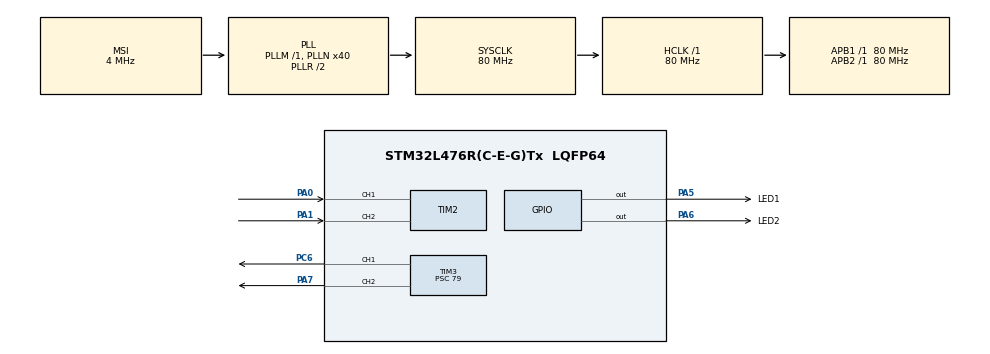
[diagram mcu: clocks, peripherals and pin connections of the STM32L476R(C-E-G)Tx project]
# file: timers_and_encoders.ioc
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Mcu.Family=STM32L4
Mcu.Name=STM32L476R(C-E-G)Tx
Mcu.Package=LQFP64
NVIC.PriorityGroup=NVIC_PRIORITYGROUP_4
NVIC.TIM6_DAC_IRQn=true\:10\:0\:true\:false\:true\:true\:true\:true
NVIC.TIM7_IRQn=true\:11\:0\:true\:false\:true\:true\:true\:true
PA0.Signal=S_TIM2_CH1
PA1.Signal=S_TIM2_CH2
PA13\ (JTMS-SWDIO).Mode=Serial_Wire
PA13\ (JTMS-SWDIO).Signal=SYS_JTMS-SWDIO
PA14\ (JTCK-SWCLK).Mode=Serial_Wire
PA14\ (JTCK-SWCLK).Signal=SYS_JTCK-SWCLK
PA5.GPIO_Label=LED1
PA5.Signal=GPIO_Output
PA6.GPIO_Label=LED2
PA6.Signal=GPIO_Output
PA7.Signal=S_TIM3_CH2
PC6.Signal=S_TIM3_CH1
ProjectManager.HeapSize=0x200
ProjectManager.StackSize=0x400
ProjectManager.TargetToolchain=STM32CubeIDE
RCC.AHBFreq_Value=80000000
RCC.APB1Freq_Value=80000000
RCC.APB1TimFreq_Value=80000000
RCC.APB2Freq_Value=80000000
RCC.APB2TimFreq_Value=80000000
RCC.CortexFreq_Value=80000000
RCC.HCLKFreq_Value=80000000
RCC.HSE_VALUE=8000000
RCC.HSI_VALUE=16000000
RCC.LSE_VALUE=32768
RCC.MSI_VALUE=4000000
RCC.PLLN=40
RCC.SYSCLKFreq_VALUE=80000000
RCC.SYSCLKSource=RCC_SYSCLKSOURCE_PLLCLK
RCC.VCOOutputFreq_Value=160000000
SH.S_TIM2_CH1.0=TIM2_CH1,Encoder_Interface
SH.S_TIM2_CH2.0=TIM2_CH2,Encoder_Interface
SH.S_TIM3_CH1.0=TIM3_CH1,PWM Generation1 CH1
SH.S_TIM3_CH2.0=TIM3_CH2,PWM Generation2 CH2
TIM3.Channel-PWM\ Generation1\ CH1=TIM_CHANNEL_1
TIM3.Channel-PWM\ Generation2\ CH2=TIM_CHANNEL_2
TIM3.OCPolarity_1=TIM_OCPOLARITY_LOW
TIM3.OCPolarity_2=TIM_OCPOLARITY_LOW
TIM3.Period=9999
TIM3.Prescaler=79
TIM6.Period=19999
TIM6.Prescaler=7999
TIM7.Period=499
TIM7.Prescaler=7999
VP_TIM3_VS_ClockSourceINT.Mode=Internal
VP_TIM6_VS_ClockSourceINT.Mode=Enable_Timer
VP_TIM7_VS_ClockSourceINT.Mode=Enable_Timer
board=custom

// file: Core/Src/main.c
/* USER CODE BEGIN Header */
/**
  ******************************************************************************
  * @file           : main.c
  * @brief          : Main program body
  ******************************************************************************
  * @attention
  *
  * Copyright (c) 2023 STMicroelectronics.
  * All rights reserved.
  *
  * This software is licensed under terms that can be found in the LICENSE file
  * in the root directory of this software component.
  * If no LICENSE file comes with this software, it is provided AS-IS.
  *
  ******************************************************************************
  */
/* USER CODE END Header */
#include "main.h"

/* USER CODE BEGIN Includes */
#include "stdio.h"
#include "math.h"

/* USER CODE END Includes */

TIM_HandleTypeDef htim2;
TIM_HandleTypeDef htim3;
TIM_HandleTypeDef htim6;
TIM_HandleTypeDef htim7;

void SystemClock_Config(void);
static void MX_GPIO_Init(void);
static void MX_TIM6_Init(void);
static void MX_TIM7_Init(void);
static void MX_TIM3_Init(void);
static void MX_TIM2_Init(void);

/* USER CODE BEGIN 0 */

volatile int16_t enc_val = 0;

//	Interrupt from basic timer (timer 6 and 7)
void HAL_TIM_PeriodElapsedCallback(TIM_HandleTypeDef *htim){

	// timer 6 is set up to change LED level once per 2s.
	if(htim==&htim6){
		HAL_GPIO_TogglePin(LED1_GPIO_Port, LED1_Pin);
	}
	//	timer 7 is set up to change LED level once per 50ms.
	else if (htim==&htim7){
		HAL_GPIO_TogglePin(LED2_GPIO_Port, LED2_Pin);
	}
}

//	Function which calculates pwm levels for color red and blue in RGB LED
float calc_pwm(float value){
	const float k = 0.13;
	const float x0 = 70.0;
	return 10000.0 / (1.0 + exp(-k * (value - x0)));
}

/* USER CODE END 0 */

int main(void)
{

  /* MCU Configuration--------------------------------------------------------*/

  /* Reset of all peripherals, Initializes the Flash interface and the Systick. */
  HAL_Init();

  /* Configure the system clock */
  SystemClock_Config();

  /* Initialize all configured peripherals */
  MX_GPIO_Init();
  MX_TIM6_Init();
  MX_TIM7_Init();
  MX_TIM3_Init();
  MX_TIM2_Init();

  /* Infinite loop */
  /* USER CODE BEGIN WHILE */

  //	SETTING UP TIMERS (ACTIVATING THEM)
  HAL_TIM_Base_Start_IT(&htim6);
  HAL_TIM_Base_Start_IT(&htim7);
  HAL_TIM_Base_Start(&htim3);

  //	SETTING UP ENCODER
  HAL_TIM_Encoder_Start(&htim2, TIM_CHANNEL_ALL);

  //	Activating PWM channels for timer 3
  HAL_TIM_PWM_Start(&htim3, TIM_CHANNEL_1);
  HAL_TIM_PWM_Start(&htim3, TIM_CHANNEL_2);

  float counter = 0.0;

  while (1)
  {
	  //	Getting new value from encoder to change frequency of sinus
	  enc_val = __HAL_TIM_GET_COUNTER(&htim2);

	  //	Creating sinus wave which changes pwm level
	  float r = 50 * (1.0f + sin((float)enc_val*(counter / 100.0f)));
	  float b = 50 * (1.0f + sin((float)enc_val*(2.0f * counter / 100.0f)));

	  //	Changing PWM level in timer
	  __HAL_TIM_SET_COMPARE(&htim3, TIM_CHANNEL_1, calc_pwm(r));
	  __HAL_TIM_SET_COMPARE(&htim3, TIM_CHANNEL_2, calc_pwm(b));

	  HAL_Delay(10);
	  counter++;
    /* USER CODE END WHILE */

  }
}

void SystemClock_Config(void)
{
  RCC_OscInitTypeDef RCC_OscInitStruct = {0};
  RCC_ClkInitTypeDef RCC_ClkInitStruct = {0};

  /** Configure the main internal regulator output voltage
  */
  if (HAL_PWREx_ControlVoltageScaling(PWR_REGULATOR_VOLTAGE_SCALE1) != HAL_OK)
  {
    Error_Handler();
  }

  /** Initializes the RCC Oscillators according to the specified parameters
  * in the RCC_OscInitTypeDef structure.
  */
  RCC_OscInitStruct.OscillatorType = RCC_OSCILLATORTYPE_MSI;
  RCC_OscInitStruct.MSIState = RCC_MSI_ON;
  RCC_OscInitStruct.MSICalibrationValue = 0;
  RCC_OscInitStruct.MSIClockRange = RCC_MSIRANGE_6;
  RCC_OscInitStruct.PLL.PLLState = RCC_PLL_ON;
  RCC_OscInitStruct.PLL.PLLSource = RCC_PLLSOURCE_MSI;
  RCC_OscInitStruct.PLL.PLLM = 1;
  RCC_OscInitStruct.PLL.PLLN = 40;
  RCC_OscInitStruct.PLL.PLLP = RCC_PLLP_DIV7;
  RCC_OscInitStruct.PLL.PLLQ = RCC_PLLQ_DIV2;
  RCC_OscInitStruct.PLL.PLLR = RCC_PLLR_DIV2;
  if (HAL_RCC_OscConfig(&RCC_OscInitStruct) != HAL_OK)
  {
    Error_Handler();
  }

  /** Initializes the CPU, AHB and APB buses clocks
  */
  RCC_ClkInitStruct.ClockType = RCC_CLOCKTYPE_HCLK|RCC_CLOCKTYPE_SYSCLK
                              |RCC_CLOCKTYPE_PCLK1|RCC_CLOCKTYPE_PCLK2;
  RCC_ClkInitStruct.SYSCLKSource = RCC_SYSCLKSOURCE_PLLCLK;
  RCC_ClkInitStruct.AHBCLKDivider = RCC_SYSCLK_DIV1;
  RCC_ClkInitStruct.APB1CLKDivider = RCC_HCLK_DIV1;
  RCC_ClkInitStruct.APB2CLKDivider = RCC_HCLK_DIV1;

  if (HAL_RCC_ClockConfig(&RCC_ClkInitStruct, FLASH_LATENCY_4) != HAL_OK)
  {
    Error_Handler();
  }
}

static void MX_TIM2_Init(void)
{

  TIM_Encoder_InitTypeDef sConfig = {0};
  TIM_MasterConfigTypeDef sMasterConfig = {0};

  htim2.Instance = TIM2;
  htim2.Init.Prescaler = 0;
  htim2.Init.CounterMode = TIM_COUNTERMODE_UP;
  htim2.Init.Period = 4294967295;
  htim2.Init.ClockDivision = TIM_CLOCKDIVISION_DIV1;
  htim2.Init.AutoReloadPreload = TIM_AUTORELOAD_PRELOAD_DISABLE;
  sConfig.EncoderMode = TIM_ENCODERMODE_TI1;
  sConfig.IC1Polarity = TIM_ICPOLARITY_RISING;
  sConfig.IC1Selection = TIM_ICSELECTION_DIRECTTI;
  sConfig.IC1Prescaler = TIM_ICPSC_DIV1;
  sConfig.IC1Filter = 0;
  sConfig.IC2Polarity = TIM_ICPOLARITY_RISING;
  sConfig.IC2Selection = TIM_ICSELECTION_DIRECTTI;
  sConfig.IC2Prescaler = TIM_ICPSC_DIV1;
  sConfig.IC2Filter = 0;
  if (HAL_TIM_Encoder_Init(&htim2, &sConfig) != HAL_OK)
  {
    Error_Handler();
  }
  sMasterConfig.MasterOutputTrigger = TIM_TRGO_RESET;
  sMasterConfig.MasterSlaveMode = TIM_MASTERSLAVEMODE_DISABLE;
  if (HAL_TIMEx_MasterConfigSynchronization(&htim2, &sMasterConfig) != HAL_OK)
  {
    Error_Handler();
  }

}

static void MX_TIM3_Init(void)
{

  TIM_ClockConfigTypeDef sClockSourceConfig = {0};
  TIM_MasterConfigTypeDef sMasterConfig = {0};
  TIM_OC_InitTypeDef sConfigOC = {0};

  htim3.Instance = TIM3;
  htim3.Init.Prescaler = 79;
  htim3.Init.CounterMode = TIM_COUNTERMODE_UP;
  htim3.Init.Period = 9999;
  htim3.Init.ClockDivision = TIM_CLOCKDIVISION_DIV1;
  htim3.Init.AutoReloadPreload = TIM_AUTORELOAD_PRELOAD_DISABLE;
  if (HAL_TIM_Base_Init(&htim3) != HAL_OK)
  {
    Error_Handler();
  }
  sClockSourceConfig.ClockSource = TIM_CLOCKSOURCE_INTERNAL;
  if (HAL_TIM_ConfigClockSource(&htim3, &sClockSourceConfig) != HAL_OK)
  {
    Error_Handler();
  }
  if (HAL_TIM_PWM_Init(&htim3) != HAL_OK)
  {
    Error_Handler();
  }
  sMasterConfig.MasterOutputTrigger = TIM_TRGO_RESET;
  sMasterConfig.MasterSlaveMode = TIM_MASTERSLAVEMODE_DISABLE;
  if (HAL_TIMEx_MasterConfigSynchronization(&htim3, &sMasterConfig) != HAL_OK)
  {
    Error_Handler();
  }
  sConfigOC.OCMode = TIM_OCMODE_PWM1;
  sConfigOC.Pulse = 0;
  sConfigOC.OCPolarity = TIM_OCPOLARITY_LOW;
  sConfigOC.OCFastMode = TIM_OCFAST_DISABLE;
  if (HAL_TIM_PWM_ConfigChannel(&htim3, &sConfigOC, TIM_CHANNEL_1) != HAL_OK)
  {
    Error_Handler();
  }
  if (HAL_TIM_PWM_ConfigChannel(&htim3, &sConfigOC, TIM_CHANNEL_2) != HAL_OK)
  {
    Error_Handler();
  }
  HAL_TIM_MspPostInit(&htim3);

}

static void MX_TIM6_Init(void)
{

  TIM_MasterConfigTypeDef sMasterConfig = {0};

  htim6.Instance = TIM6;
  htim6.Init.Prescaler = 7999;
  htim6.Init.CounterMode = TIM_COUNTERMODE_UP;
  htim6.Init.Period = 19999;
  htim6.Init.AutoReloadPreload = TIM_AUTORELOAD_PRELOAD_DISABLE;
  if (HAL_TIM_Base_Init(&htim6) != HAL_OK)
  {
    Error_Handler();
  }
  sMasterConfig.MasterOutputTrigger = TIM_TRGO_RESET;
  sMasterConfig.MasterSlaveMode = TIM_MASTERSLAVEMODE_DISABLE;
  if (HAL_TIMEx_MasterConfigSynchronization(&htim6, &sMasterConfig) != HAL_OK)
  {
    Error_Handler();
  }

}

static void MX_TIM7_Init(void)
{

  TIM_MasterConfigTypeDef sMasterConfig = {0};

  htim7.Instance = TIM7;
  htim7.Init.Prescaler = 7999;
  htim7.Init.CounterMode = TIM_COUNTERMODE_UP;
  htim7.Init.Period = 499;
  htim7.Init.AutoReloadPreload = TIM_AUTORELOAD_PRELOAD_DISABLE;
  if (HAL_TIM_Base_Init(&htim7) != HAL_OK)
  {
    Error_Handler();
  }
  sMasterConfig.MasterOutputTrigger = TIM_TRGO_RESET;
  sMasterConfig.MasterSlaveMode = TIM_MASTERSLAVEMODE_DISABLE;
  if (HAL_TIMEx_MasterConfigSynchronization(&htim7, &sMasterConfig) != HAL_OK)
  {
    Error_Handler();
  }

}

static void MX_GPIO_Init(void)
{
  GPIO_InitTypeDef GPIO_InitStruct = {0};

  /* GPIO Ports Clock Enable */
  __HAL_RCC_GPIOA_CLK_ENABLE();
  __HAL_RCC_GPIOC_CLK_ENABLE();

  /*Configure GPIO pin Output Level */
  HAL_GPIO_WritePin(GPIOA, LED1_Pin|LED2_Pin, GPIO_PIN_RESET);

  /*Configure GPIO pins : LED1_Pin LED2_Pin */
  GPIO_InitStruct.Pin = LED1_Pin|LED2_Pin;
  GPIO_InitStruct.Mode = GPIO_MODE_OUTPUT_PP;
  GPIO_InitStruct.Pull = GPIO_NOPULL;
  GPIO_InitStruct.Speed = GPIO_SPEED_FREQ_LOW;
  HAL_GPIO_Init(GPIOA, &GPIO_InitStruct);

}

void Error_Handler(void)
{
  __disable_irq();
  while (1)
  {
  }
}
